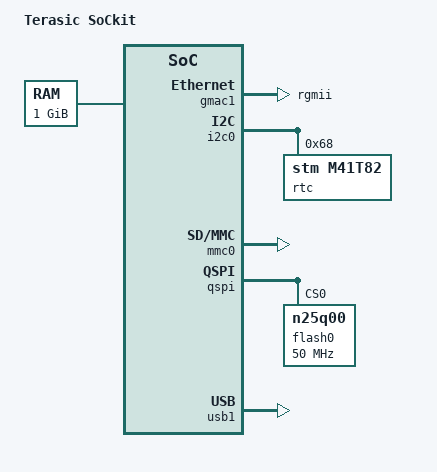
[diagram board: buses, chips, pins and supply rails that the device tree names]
// SPDX-License-Identifier: GPL-2.0+
/*
 *  Copyright (C) 2014 Steffen Trumtrar <s.trumtrar@pengutronix.de>
 */

#include "socfpga_cyclone5.dtsi"

/ {
	model = "Terasic SoCkit";
	compatible = "altr,socfpga-cyclone5", "altr,socfpga";

	chosen {
		bootargs = "console=ttyS0,115200";
	};

	aliases {
		ethernet0 = &gmac1;
		udc0 = &usb1;
	};

	memory {
		name = "memory";
		device_type = "memory";
		reg = <0x0 0x40000000>; /* 1GB */
	};

	soc {
		u-boot,dm-pre-reloc;
	};
};

&gmac1 {
	status = "okay";
	phy-mode = "rgmii";

	rxd0-skew-ps = <0>;
	rxd1-skew-ps = <0>;
	rxd2-skew-ps = <0>;
	rxd3-skew-ps = <0>;
	txen-skew-ps = <0>;
	txc-skew-ps = <2600>;
	rxdv-skew-ps = <0>;
	rxc-skew-ps = <2000>;
};

&gpio0 {
	status = "okay";
};

&gpio1 {
	status = "okay";
};

&gpio2 {
	status = "okay";
};

&i2c0 {
	status = "okay";

	rtc: rtc@68 {
		compatible = "stm,m41t82";
		reg = <0x68>;
	};
};

&mmc0 {
	status = "okay";
	u-boot,dm-pre-reloc;
};

&qspi {
	status = "okay";
	u-boot,dm-pre-reloc;

	flash0: n25q00@0 {
		u-boot,dm-pre-reloc;
		#address-cells = <1>;
		#size-cells = <1>;
		compatible = "n25q00", "spi-flash";
		reg = <0>;      /* chip select */
		spi-max-frequency = <50000000>;
		m25p,fast-read;
		page-size = <256>;
		block-size = <16>; /* 2^16, 64KB */
		cdns,tshsl-ns = <50>;
		cdns,tsd2d-ns = <50>;
		cdns,tchsh-ns = <4>;
		cdns,tslch-ns = <4>;
	};
};

&usb1 {
	status = "okay";
};
